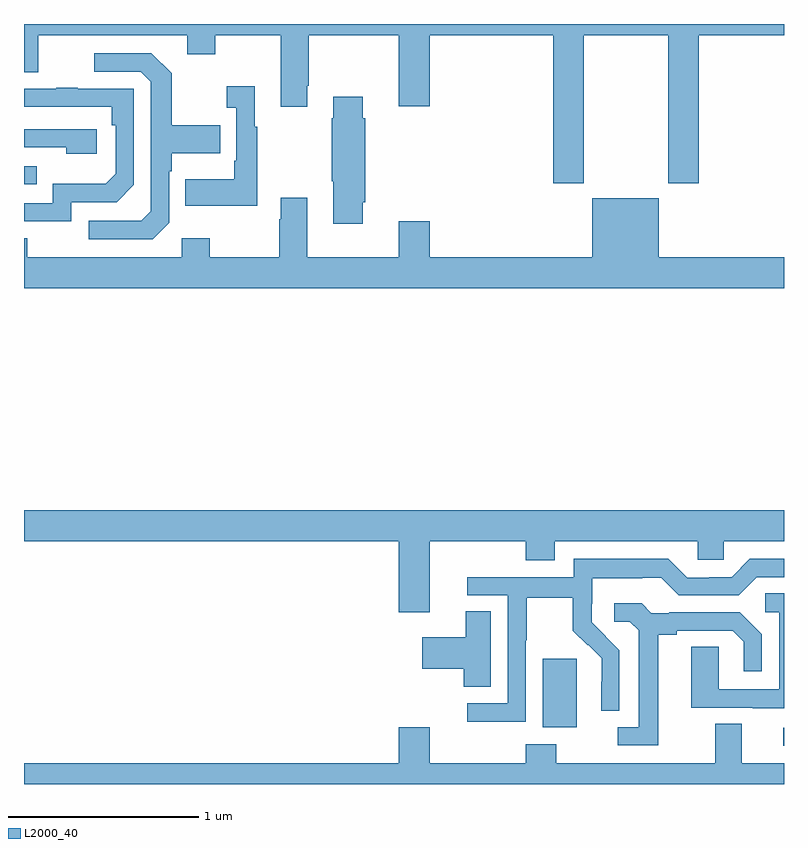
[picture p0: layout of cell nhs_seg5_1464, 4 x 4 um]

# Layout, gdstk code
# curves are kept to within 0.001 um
import gdstk
lib = gdstk.Library(unit=1e-6, precision=1e-09)
def R(c, l, rs):  # rectangles x0, y0, x1, y1
    for r in rs: c.add(gdstk.rectangle(r[:2], r[2:], *l))
def P(c, l, *ps):  # polygons
    for p in ps: c.add(gdstk.Polygon(p, *l))
L2000_40 = (2000, 40)

nhs_seg5_1464 = lib.new_cell('nhs_seg5_1464')
R(nhs_seg5_1464, L2000_40, [(202.995,873,203,873.096), (201.731,873.098,201.91,873.459), (199,875.955,199.067,876.051)])
P(nhs_seg5_1464, L2000_40, [(199,876.546),(199.075,876.546),(199.075,876.74),(199.859,876.74),(199.859,876.641),(200.007,876.641),(200.007,876.74),(200.351,876.74),(200.351,876.363),(200.491,876.363),(200.491,876.475),(200.499,876.475),(200.499,876.74),(200.972,876.74),(200.972,876.366),(201.136,876.366),(201.136,876.74),(201.785,876.74),(201.785,875.961),(201.945,875.961),(201.945,876.74),(202.39,876.74),(202.39,875.961),(202.55,875.961),(202.55,876.74),(203,876.74),(203,876.799),(199,876.799)],
  [(199.764,875.754),(199.764,876.023),(199.777,876.023),(199.777,876.119),(200.033,876.119),(200.033,876.267),(199.777,876.267),(199.777,876.539),(199.671,876.645),(199.371,876.645),(199.371,876.549),(199.614,876.549),(199.668,876.495),(199.668,875.814),(199.617,875.763),(199.341,875.763),(199.341,875.667),(199.677,875.667)],
  [(200.227,876.259),(200.215,876.259),(200.215,876.472),(200.067,876.472),(200.067,876.359),(200.118,876.359),(200.118,876.079),(200.106,876.079),(200.106,875.983),(199.849,875.983),(199.849,875.843),(200.227,875.843)],
  [(199.248,875.862),(199.488,875.862),(199.578,875.952),(199.578,876.459),(199.283,876.459),(199.283,876.464),(199.171,876.464),(199.171,876.459),(199,876.459),(199,876.363),(199.462,876.363),(199.462,876.266),(199.482,876.266),(199.482,876.012),(199.429,875.959),(199.152,875.959),(199.152,875.856),(199,875.856),(199,875.76),(199.248,875.76)],
  [(200.782,875.86),(200.795,875.86),(200.795,876.302),(200.782,876.302),(200.782,876.415),(200.627,876.415),(200.627,876.302),(200.62,876.302),(200.62,875.971),(200.627,875.971),(200.627,875.748),(200.782,875.748)],
  [(199.384,876.246),(199,876.246),(199,876.15),(199.223,876.15),(199.223,876.116),(199.384,876.116)],
  [(203,875.572),(202.342,875.572),(202.342,875.881),(201.992,875.881),(201.992,875.572),(201.136,875.572),(201.136,875.761),(200.972,875.761),(200.972,875.572),(200.491,875.572),(200.491,875.884),(200.351,875.884),(200.351,875.771),(200.344,875.771),(200.344,875.572),(199.977,875.572),(199.977,875.671),(199.83,875.671),(199.83,875.572),(199.017,875.572),(199.017,875.671),(199,875.671),(199,875.408),(203,875.408)],
  [(201.136,874.076),(201.641,874.076),(201.641,873.977),(201.793,873.977),(201.793,874.076),(202.545,874.076),(202.545,873.978),(202.683,873.978),(202.683,874.076),(203,874.076),(203,874.24),(199,874.24),(199,874.076),(200.972,874.076),(200.972,873.702),(201.136,873.702)],
  [(201.642,873.556),(201.645,873.556),(201.645,873.78),(201.889,873.78),(201.889,873.605),(201.966,873.528),(201.969,873.531),(202.04,873.461),(202.04,873.338),(202.038,873.338),(202.038,873.184),(202.134,873.184),(202.134,873.502),(201.988,873.65),(201.988,873.747),(201.99,873.747),(201.99,873.881),(202.253,873.881),(202.253,873.885),(202.353,873.885),(202.446,873.792),(202.761,873.792),(202.857,873.888),(203,873.888),(203,873.984),(202.821,873.984),(202.725,873.888),(202.607,873.888),(202.607,873.885),(202.491,873.885),(202.391,873.985),(201.894,873.985),(201.894,873.888),(201.333,873.888),(201.333,873.792),(201.546,873.792),(201.546,873.225),(201.333,873.225),(201.333,873.127),(201.642,873.127)],
  [(203,873.803),(202.902,873.803),(202.902,873.702),(202.974,873.702),(202.974,873.297),(202.656,873.297),(202.656,873.521),(202.511,873.521),(202.511,873.201),(202.835,873.201),(202.835,873.197),(203,873.197)],
  [(202.339,873.584),(202.435,873.584),(202.435,873.606),(202.73,873.606),(202.787,873.549),(202.787,873.393),(202.884,873.393),(202.884,873.586),(202.768,873.702),(202.396,873.702),(202.396,873.699),(202.302,873.699),(202.25,873.751),(202.107,873.751),(202.107,873.654),(202.188,873.654),(202.235,873.607),(202.235,873.099),(202.125,873.099),(202.125,873.003),(202.339,873.003)],
  [(201.457,873.707),(201.326,873.707),(201.326,873.571),(201.096,873.571),(201.096,873.406),(201.314,873.406),(201.314,873.31),(201.457,873.31)],
  [(203,872.908),(202.777,872.908),(202.777,873.116),(202.637,873.116),(202.637,872.908),(201.801,872.908),(201.801,873.007),(201.641,873.007),(201.641,872.908),(201.136,872.908),(201.136,873.097),(200.972,873.097),(200.972,872.908),(199,872.908),(199,872.799),(203,872.799)])

lib.write_gds('nhs_seg5_1464.gds')
